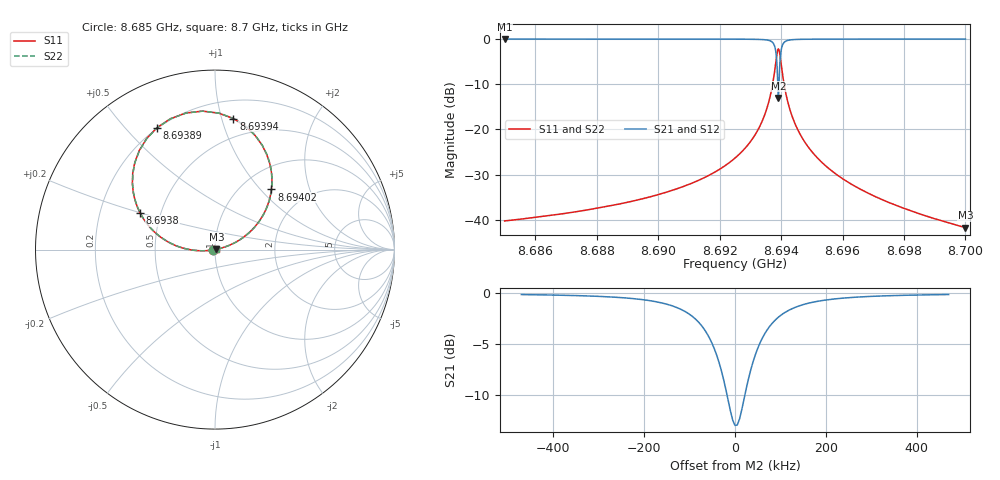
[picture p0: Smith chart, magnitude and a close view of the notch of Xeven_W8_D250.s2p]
! Sonnet Data File
! From: emgraph Version : 16.52
! From Project: Qubit_Xmon2_brg_para
! Data is De-embedded
! Data File Written: 10/25/2017 13:37:34
!< HDATE 10/25/2017 09:37:53
!< MDATE 10/25/2017 09:40:21
!< PARAMS
!< Lj = 11.0
!< Gap = 6.0
!< Pwid = 2000.0
!< Airgap = 6.0
!< Width = 10.0
!< Bwid = 8.0
!< Dis1 = 250.0
!< Dis2 = 256.0
!< END PARAMS
# GHZ S MA R 51.80000
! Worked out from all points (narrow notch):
!   3001 points, 8.685 GHz to 8.7 GHz, reference 51.8 ohm
!   highest |S21| = 0.00 dB at 8.685 GHz (marker M1); lowest = -13.0 dB at 8.69391 GHz (marker M2)
!   notch at M2: 13.0 dB deep, 78.8 kHz wide at half that depth
!   lowest |S11| = -41.8 dB at 8.7 GHz (marker M3), VSWR 1.02, Z = 52.6 + j0.171 ohm
!   |S11| at or under -10 dB: start of sweep to 8.693724 GHz; 8.694097 GHz to end of sweep
!   |S22| runs from -41.8 to -2.2 dB; largest |S21 - S12| = 0
!   S11 on the Smith chart (normalised r, x): 8.685 GHz: 0.98, -0.00; 8.6938 GHz: 0.38, +0.20; 8.69389 GHz: 0.20, +0.61; 8.69394 GHz: 0.34, +1.09; 8.69402 GHz: 1.35, +1.15; 8.7 GHz: 1.02, +0.00
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8.685  0.009695 -170.3  0.9999 -80.0  0.9999 -80.0  0.009695 -169.9
!< P1 F=8.685 Eeff=(6.44683879 -2.9786e-5) Z0=(51.7993663 1.19075e-4) R=0.0 C=0.0
!< P2 F=8.685 Eeff=(6.44683879 -2.9786e-5) Z0=(51.7993663 1.19075e-4) R=0.0 C=0.0
8.6875  0.01252 -170.5  0.9999 -80.2  0.9999 -80.2  0.01252 -170.2
8.69  0.01896 -170.9  0.9997 -80.6  0.9997 -80.6  0.01896 -170.8
8.69146  0.02878 -171.6  0.9994 -81.2  0.9994 -81.2  0.02878 -171.5
8.6925  0.04813 -173.0  0.9982 -82.3  0.9982 -82.3  0.04812 -173.0
8.693  0.07299 -174.8  0.9959 -83.7  0.9959 -83.7  0.07299 -174.9
8.693365  0.1192 -178.2  0.9889 -86.4  0.9889 -86.4  0.1192 -178.3
8.693675  0.2594 171.1  0.9461 -94.5  0.9461 -94.5  0.2594 171.0
8.6938  0.4647 153.9  0.8136 -106.8  0.8136 -106.8  0.4647 153.8
8.693845  0.6062 139.4  0.6512 -115.3  0.6512 -115.3  0.6062 139.3
8.69389  0.7522 115.5  0.3348 -114.9  0.3348 -114.9  0.7522 115.3
8.69391  0.7779 102.0  0.2232 -84.7  0.2232 -84.7  0.7779 101.9
8.69394  0.7374 82.0  0.3816 -41.6  0.3816 -41.6  0.7373 81.8
8.693985  0.5838 59.2  0.6809 -45.1  0.6809 -45.1  0.5838 59.1
8.694025  0.4596 46.8  0.8169 -52.6  0.8169 -52.6  0.4596 46.7
8.69411  0.2991 33.2  0.9267 -62.2  0.9267 -62.2  0.2991 33.1
8.694245  0.1861 24.5  0.9722 -68.8  0.9722 -68.8  0.1861 24.3
8.694555  0.0973 17.8  0.9924 -74.0  0.9924 -74.0  0.0973 17.6
8.695  0.05681 14.8  0.9974 -76.3  0.9974 -76.3  0.0568 14.6
8.696005  0.02841 12.8  0.9993 -77.9  0.9993 -77.9  0.02841 12.5
8.6975  0.01556 11.9  0.9998 -78.7  0.9998 -78.7  0.01556 11.4
8.7  0.008167 11.5  0.9999 -79.1  0.9999 -79.1  0.008167 10.7
